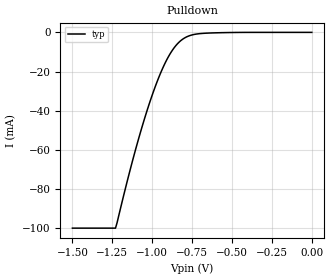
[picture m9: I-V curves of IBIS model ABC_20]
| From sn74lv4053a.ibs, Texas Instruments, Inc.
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[Model]   ABC_20
Model_type   Input
Vinl = .5
Vinh = 1.5
|   typ   min   max
C_comp   2pf   NA   NA
[Voltage Range]   2   NA   NA
[Temperature Range]   27   NA   NA
[Power Clamp Reference]   2   NA   NA
[GND Clamp Reference]   -0   NA   NA
[Pulldown]
|   Voltage   I(typ)   I(min)   I(max)
-1.5V     -100mA     NA         NA
-1.23V    -100mA     NA         NA
-1.1V     -58.62mA   NA         NA
-1.05V    -44.58mA   NA         NA
-1V       -32.04mA   NA         NA
-950mV    -21.26mA   NA         NA
-910mV    -14.19mA   NA         NA
-860mV    -7.592mA   NA         NA
-820mV    -4.157mA   NA         NA
-760mV    -1.53mA    NA         NA
-670mV    -449.8uA   NA         NA
0V        0A         NA         NA
